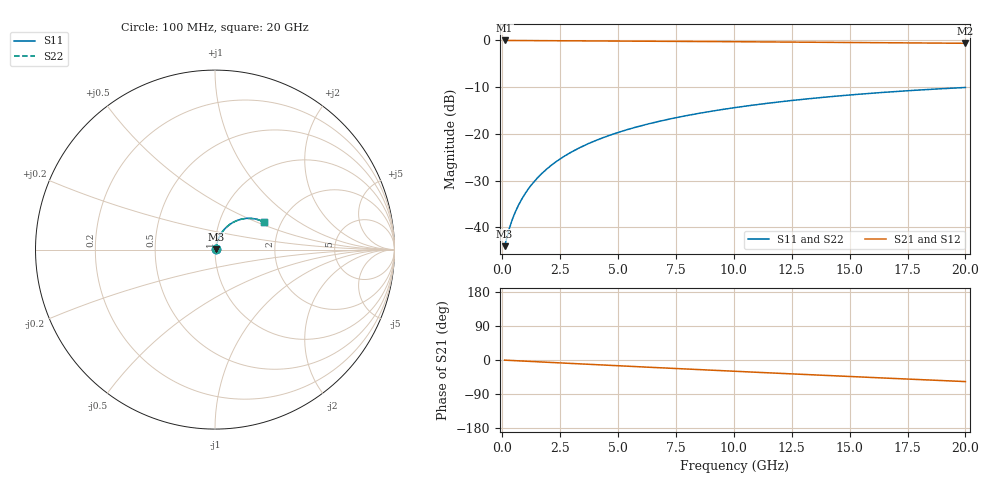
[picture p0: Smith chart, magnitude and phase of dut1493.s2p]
! Touchstone file exported from HFSS 2026.1.0
!  File:  C:/ffzhzh/LocalFiles/Ansys_Project_Files/temp_train_TMRDL_1493_1783167900_55132.aedt
!  Generated:  08:26:17 PM Jul  4, 2026
!  Design:  TMRDL
!  Project:  temp_train_TMRDL_1493_1783167900_55132
! Variables:
!  h_bsmrdl = 2um
!  h_ox = 20um
!  h_rdl = 5um
!  h_sub = 80um
!  h_tmrdl = 4.29um
!  h_tsv = 80um
!  h_via = 3um
!  l_bsmrdl = 300um
!  l_sub = 1387.98um
!  l_tmrdl = 987.98um
!  m_sub = 200um
!  pitch = 25.11um
!  r_tsv = 6um
!  s_tmrdl = 10um
!  w_bsmrdl = 18um
!  w_sub = 500um
!  w_tmrdl = 14.37um
!  x_tsv_center1 = 995.165um
!  x_tsv_center2 = 1313.165um
!  x_tsv_center3 = 2315.515um
!  x_tsv_center4 = 2633.515um
!  x_tsv_center5 = 3635.865um
!  x_tsv_center6 = 3953.865um
# GHz S MA R 50.000000
! Terminal data exported
! Port[1] = TM_RDL1_1_T1
! Port[2] = TM_RDL1_1_T2
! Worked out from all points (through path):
!   200 points, 100 MHz to 20 GHz, reference 50 ohm
!   highest |S21| = -0.05 dB at 100 MHz (marker M1); lowest = -0.7 dB at 20 GHz (marker M2)
!   group delay of S21, straight-line fit = 7.89 ps
!   lowest |S11| = -44.0 dB at 100 MHz (marker M3), VSWR 1.01, Z = 50.6 + j0.258 ohm
!   |S11| at or under -10 dB: start of sweep to end of sweep
!   |S22| runs from -44.0 to -10.1 dB; largest |S21 - S12| = 3.2e-15
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0.1  0.006303 23.8  0.9942 -0.3  0.9942 -0.3  0.006303 23.8
! Gamma 0 0 0 0
! Port Impedance 50 0 50 0
0.3  0.009657 48.1  0.9937 -1.0  0.9937 -1.0  0.009657 48.1
0.4  0.01154 53.9  0.9934 -1.3  0.9934 -1.3  0.01154 53.9
0.6  0.01535 61.1  0.9929 -1.9  0.9929 -1.9  0.01535 61.1
0.7  0.01729 63.6  0.9928 -2.2  0.9928 -2.2  0.01729 63.5
0.9  0.02123 67.0  0.9925 -2.8  0.9925 -2.8  0.02123 67.0
1.2  0.02728 70.2  0.9921 -3.7  0.9921 -3.7  0.02728 70.1
1.4  0.03136 71.4  0.9918 -4.3  0.9918 -4.3  0.03136 71.4
1.7  0.03752 72.4  0.9913 -5.3  0.9913 -5.3  0.03752 72.4
2.2  0.04781 73.0  0.9904 -6.8  0.9904 -6.8  0.04781 73.0
2.8  0.06008 72.7  0.9891 -8.6  0.9891 -8.6  0.06009 72.6
3.5  0.07418 71.6  0.9873 -10.7  0.9873 -10.7  0.07419 71.5
4.2  0.088 70.1  0.9852 -12.8  0.9852 -12.8  0.088 70.1
5  0.1034 68.2  0.9827 -15.2  0.9827 -15.2  0.1034 68.1
5.9  0.1202 65.9  0.9796 -17.8  0.9796 -17.8  0.1202 65.8
6.8  0.1364 63.5  0.9764 -20.5  0.9764 -20.5  0.1364 63.5
8.3  0.1623 59.6  0.9707 -24.8  0.9707 -24.8  0.1623 59.5
10.1  0.1914 54.9  0.9638 -29.9  0.9638 -29.9  0.1914 54.8
11.7  0.2155 50.7  0.9576 -34.4  0.9576 -34.4  0.2156 50.6
13.4  0.2393 46.3  0.951 -39.2  0.951 -39.2  0.2393 46.1
16.7  0.2799 37.8  0.9386 -48.2  0.9386 -48.2  0.2799 37.6
20  0.3127 29.4  0.9275 -57.0  0.9275 -57.0  0.3128 29.2
